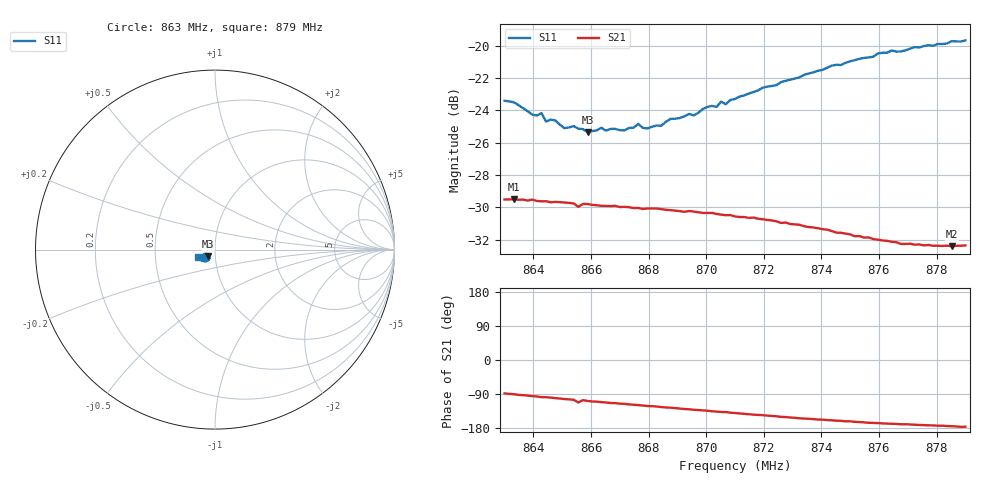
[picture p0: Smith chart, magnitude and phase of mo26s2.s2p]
# HZ S RI R 50
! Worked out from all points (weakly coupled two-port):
!   101 points, 863 MHz to 879 MHz, reference 50 ohm
!   highest |S21| = -29.50 dB at 863.32 MHz (marker M1); lowest = -32.4 dB at 878.52 MHz (marker M2)
!   lowest |S11| = -25.3 dB at 865.88 MHz (marker M3), VSWR 1.11, Z = 46.2 - j3.5 ohm
!   |S11| at or under -10 dB: start of sweep to end of sweep
!   S12 and S22 are empty: the file has one direction only
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8.63e8  -0.0542 -0.0403  0.00112 -0.0334  0 0  0 0
8.6332e8  -0.0537 -0.0398  -0.00018 -0.0335  0 0  0 0
8.6396e8  -0.0478 -0.0382  -0.00314 -0.0333  0 0  0 0
8.6428e8  -0.0474 -0.0398  -0.00458 -0.0327  0 0  0 0
8.6444e8  -0.0443 -0.0378  -0.00471 -0.0327  0 0  0 0
8.6476e8  -0.0449 -0.0379  -0.00604 -0.0323  0 0  0 0
8.6508e8  -0.0408 -0.0377  -0.00738 -0.0319  0 0  0 0
8.6556e8  -0.0397 -0.0387  -0.012 -0.0294  0 0  0 0
8.6572e8  -0.0377 -0.0403  -0.00889 -0.0312  0 0  0 0
8.6588e8  -0.0387 -0.0378  -0.0101 -0.0308  0 0  0 0
8.6636e8  -0.0383 -0.0405  -0.0115 -0.0298  0 0  0 0
8.6716e8  -0.0344 -0.0426  -0.0138 -0.0286  0 0  0 0
8.6764e8  -0.0354 -0.0451  -0.0153 -0.0275  0 0  0 0
8.6796e8  -0.0326 -0.0449  -0.0163 -0.0268  0 0  0 0
8.6844e8  -0.0324 -0.0464  -0.0176 -0.0258  0 0  0 0
8.6876e8  -0.0333 -0.0492  -0.0181 -0.0251  0 0  0 0
8.6956e8  -0.0332 -0.051  -0.0202 -0.0231  0 0  0 0
8.71e8  -0.0376 -0.0572  -0.0227 -0.0191  0 0  0 0
8.7372e8  -0.0517 -0.0646  -0.025 -0.0112  0 0  0 0
8.7644e8  -0.0761 -0.0597  -0.0242 -0.00504  0 0  0 0
8.7852e8  -0.0917 -0.0477  -0.0239 -0.00217  0 0  0 0
8.79e8  -0.0945 -0.0432  -0.024 -0.00163  0 0  0 0
